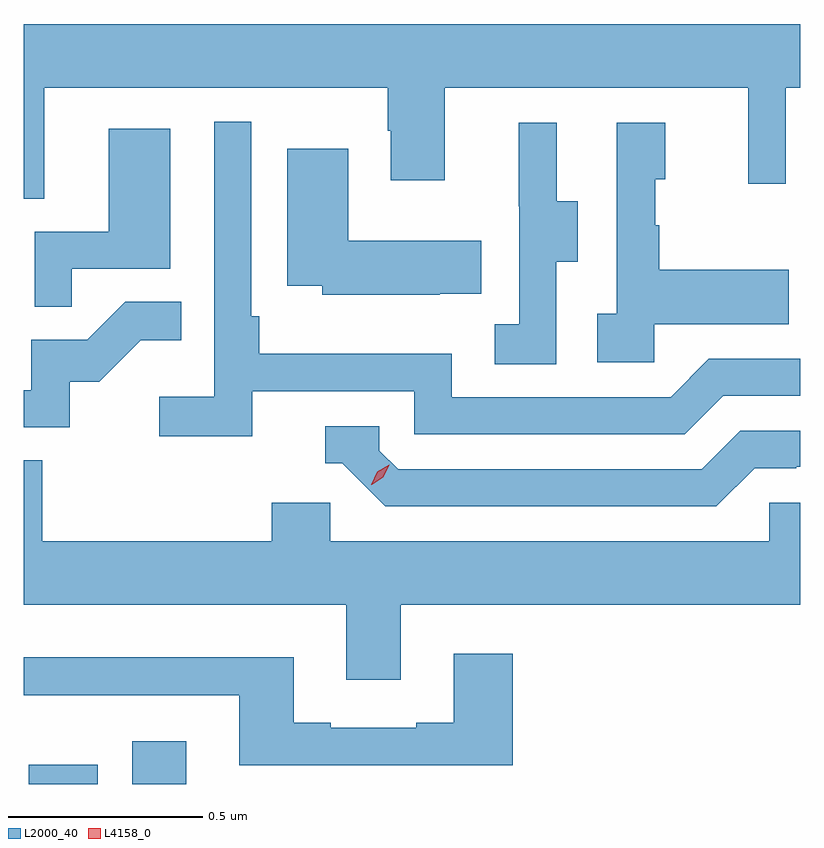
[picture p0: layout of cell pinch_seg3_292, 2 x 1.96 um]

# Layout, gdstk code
import gdstk
lib = gdstk.Library(unit=1e-6, precision=1e-09)
def R(c, l, rs):  # rectangles x0, y0, x1, y1
    for r in rs: c.add(gdstk.rectangle(r[:2], r[2:], *l))
def P(c, l, *ps):  # polygons
    for p in ps: c.add(gdstk.Polygon(p, *l))
L2000_40 = (2000, 40)
L4158_0 = (4158, 0)

pinch_seg3_292 = lib.new_cell('pinch_seg3_292')
R(pinch_seg3_292, L2000_40, [(942.122,708.446,942.301,708.496), (942.389,708.446,942.529,708.556)])
P(pinch_seg3_292, L2000_40, [(942.163,710.24),(943.048,710.24),(943.048,710.129),(943.055,710.129),(943.055,710.001),(943.195,710.001),(943.195,710.24),(943.976,710.24),(943.976,709.992),(944.073,709.992),(944.073,710.24),(944.11,710.24),(944.11,710.404),(942.11,710.404),(942.11,709.954),(942.163,709.954)],
  [(942.698,709.458),(943.116,709.458),(943.116,709.347),(943.813,709.347),(943.912,709.446),(944.11,709.446),(944.11,709.542),(943.875,709.542),(943.776,709.443),(943.212,709.443),(943.212,709.555),(942.716,709.555),(942.716,709.651),(942.696,709.651),(942.696,710.152),(942.6,710.152),(942.6,709.444),(942.459,709.444),(942.459,709.342),(942.698,709.342)],
  [(943.482,709.792),(943.537,709.792),(943.537,709.947),(943.483,709.947),(943.483,710.149),(943.385,710.149),(943.385,709.935),(943.386,709.935),(943.386,709.631),(943.323,709.631),(943.323,709.528),(943.482,709.528)],
  [(943.734,709.631),(944.081,709.631),(944.081,709.771),(943.747,709.771),(943.747,709.886),(943.737,709.886),(943.737,710.004),(943.762,710.004),(943.762,710.149),(943.638,710.149),(943.638,709.658),(943.587,709.658),(943.587,709.533),(943.734,709.533)],
  [(942.233,709.773),(942.487,709.773),(942.487,710.134),(942.329,710.134),(942.329,709.869),(942.138,709.869),(942.138,709.675),(942.233,709.675)],
  [(943.181,709.709),(943.289,709.709),(943.289,709.846),(942.946,709.846),(942.946,710.083),(942.788,710.083),(942.788,709.73),(942.879,709.73),(942.879,709.706),(943.181,709.706)],
  [(942.228,709.482),(942.304,709.482),(942.411,709.589),(942.515,709.589),(942.515,709.688),(942.371,709.688),(942.273,709.59),(942.129,709.59),(942.129,709.461),(942.11,709.461),(942.11,709.365),(942.228,709.365)],
  [(943.993,709.26),(944.1,709.26),(944.1,709.263),(944.11,709.263),(944.11,709.356),(943.956,709.356),(943.857,709.257),(943.074,709.257),(943.026,709.305),(943.026,709.368),(942.887,709.368),(942.887,709.272),(942.93,709.272),(943.041,709.161),(943.894,709.161)],
  [(942.11,709.28),(942.11,708.908),(942.941,708.908),(942.941,708.714),(943.081,708.714),(943.081,708.908),(944.11,708.908),(944.11,709.17),(944.031,709.17),(944.031,709.072),(942.9,709.072),(942.9,709.17),(942.749,709.17),(942.749,709.072),(942.158,709.072),(942.158,709.28)],
  [(943.37,708.781),(943.217,708.781),(943.217,708.604),(943.121,708.604),(943.121,708.591),(942.901,708.591),(942.901,708.604),(942.805,708.604),(942.805,708.772),(942.11,708.772),(942.11,708.675),(942.665,708.675),(942.665,708.494),(943.37,708.494)])
P(pinch_seg3_292, L4158_0, [(943.005,709.217),(943.005,709.217),(943.021,709.25),(943.052,709.269),(943.052,709.269),(943.052,709.269),(943.036,709.236),(943.006,709.217)])

lib.write_gds('pinch_seg3_292.gds')
